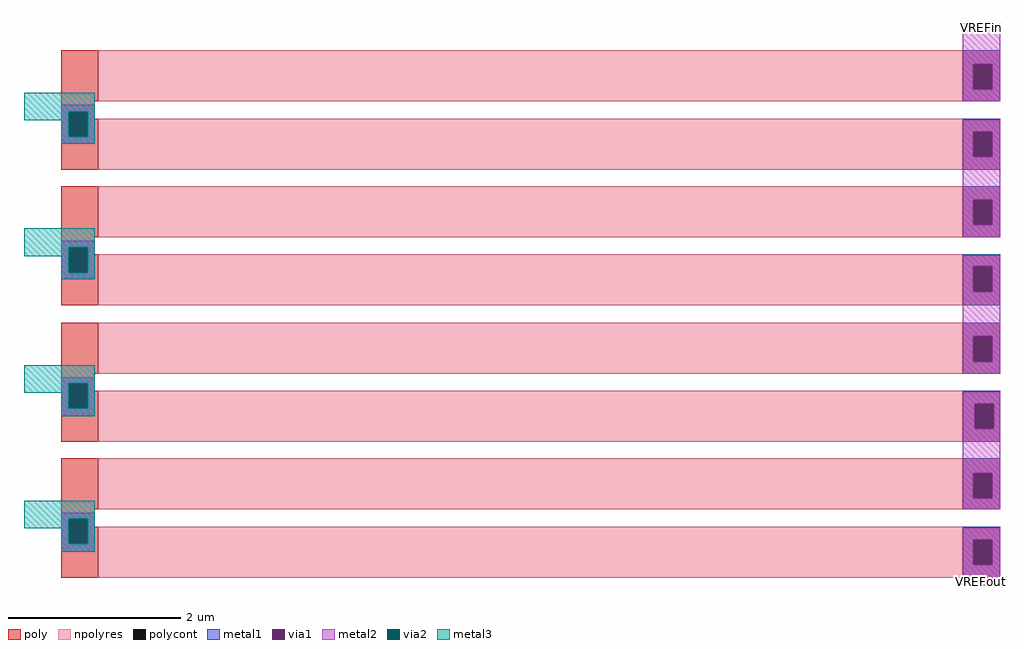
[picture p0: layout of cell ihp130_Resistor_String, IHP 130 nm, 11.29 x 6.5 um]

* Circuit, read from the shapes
.subckt ihp130_Resistor_String VREFout VREFin
XR1 VREFout n1 npolyres w=0.59u l=10u
XR2 n2 n1 npolyres w=0.59u l=10u
XR3 n2 n3 npolyres w=0.59u l=10u
XR4 n4 n3 npolyres w=0.59u l=10u
XR5 n4 n5 npolyres w=0.59u l=10u
XR6 n6 n5 npolyres w=0.59u l=10u
XR7 n6 n7 npolyres w=0.59u l=10u
XR8 VREFin n7 npolyres w=0.59u l=10u
.ends

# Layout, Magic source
magic
tech ihp-sg13g2
<< poly >>
rect 981 562 1024 621
rect 2024 605 2067 621
rect 2024 576 2036 605
rect 2058 576 2067 605
rect 2024 562 2067 576
rect 981 550 1020 562
rect 981 521 990 550
rect 1012 542 1020 550
rect 1012 521 1024 542
rect 981 483 1024 521
rect 2024 527 2067 542
rect 2024 498 2036 527
rect 2058 498 2067 527
rect 2024 483 2067 498
rect 981 405 1024 464
rect 2024 448 2067 464
rect 2024 419 2036 448
rect 2058 419 2067 448
rect 2024 405 2067 419
rect 981 393 1020 405
rect 981 364 990 393
rect 1012 385 1020 393
rect 1012 364 1024 385
rect 981 326 1024 364
rect 2024 371 2067 385
rect 2024 342 2036 371
rect 2058 342 2067 371
rect 2024 326 2067 342
rect 981 247 1024 306
rect 2024 290 2067 306
rect 2024 261 2036 290
rect 2058 261 2067 290
rect 2024 247 2067 261
rect 981 236 1020 247
rect 981 207 990 236
rect 1012 227 1020 236
rect 1012 207 1024 227
rect 981 168 1024 207
rect 2024 212 2067 227
rect 2024 183 2038 212
rect 2060 183 2067 212
rect 2024 168 2067 183
rect 981 90 1024 149
rect 2024 132 2067 149
rect 2024 103 2036 132
rect 2058 103 2067 132
rect 2024 90 2067 103
rect 981 79 1020 90
rect 981 50 990 79
rect 1012 70 1020 79
rect 1012 50 1024 70
rect 981 11 1024 50
rect 2024 55 2067 70
rect 2024 26 2036 55
rect 2058 26 2067 55
rect 2024 11 2067 26
<< polycont >>
rect 2036 576 2058 605
rect 990 521 1012 550
rect 2036 498 2058 527
rect 2036 419 2058 448
rect 990 364 1012 393
rect 2036 342 2058 371
rect 2036 261 2058 290
rect 990 207 1012 236
rect 2038 183 2060 212
rect 2036 103 2058 132
rect 990 50 1012 79
rect 2036 26 2058 55
<< npolyres >>
rect 1024 562 2024 621
rect 1024 483 2024 542
rect 1024 405 2024 464
rect 1024 326 2024 385
rect 1024 247 2024 306
rect 1024 168 2024 227
rect 1024 90 2024 149
rect 1024 11 2024 70
<< metal1 >>
rect 2024 605 2067 621
rect 2024 576 2036 605
rect 2058 576 2067 605
rect 2024 562 2067 576
rect 981 550 1020 558
rect 981 521 990 550
rect 1012 521 1020 550
rect 981 513 1020 521
rect 2024 527 2067 542
rect 2024 498 2036 527
rect 2058 498 2067 527
rect 2024 483 2067 498
rect 2024 448 2067 464
rect 2024 419 2036 448
rect 2058 419 2067 448
rect 2024 405 2067 419
rect 981 393 1020 401
rect 981 364 990 393
rect 1012 364 1020 393
rect 981 356 1020 364
rect 2024 371 2067 385
rect 2024 342 2036 371
rect 2058 342 2067 371
rect 2024 326 2067 342
rect 2024 290 2067 306
rect 2024 261 2036 290
rect 2058 261 2067 290
rect 2024 247 2067 261
rect 981 236 1020 243
rect 981 207 990 236
rect 1012 207 1020 236
rect 981 198 1020 207
rect 2024 212 2067 227
rect 2024 183 2038 212
rect 2060 183 2067 212
rect 2024 168 2067 183
rect 2024 132 2067 149
rect 2024 103 2036 132
rect 2058 103 2067 132
rect 2024 90 2067 103
rect 981 79 1020 86
rect 981 50 990 79
rect 1012 50 1020 79
rect 981 41 1020 50
rect 2024 55 2067 70
rect 2024 26 2036 55
rect 2058 26 2067 55
rect 2024 11 2067 26
<< via1 >>
rect 2036 576 2058 605
rect 990 521 1012 550
rect 2036 498 2058 527
rect 2036 419 2058 448
rect 990 364 1012 393
rect 2036 342 2058 371
rect 2036 261 2058 290
rect 990 207 1012 236
rect 2038 183 2060 212
rect 2036 103 2058 132
rect 990 50 1012 79
rect 2036 26 2058 55
<< metal2 >>
rect 2024 605 2067 652
rect 2024 576 2036 605
rect 2058 576 2067 605
rect 2024 562 2067 576
rect 981 550 1020 558
rect 981 521 990 550
rect 1012 521 1020 550
rect 981 513 1020 521
rect 2024 527 2067 541
rect 2024 498 2036 527
rect 2058 498 2067 527
rect 2024 448 2067 498
rect 2024 419 2036 448
rect 2058 419 2067 448
rect 2024 405 2067 419
rect 981 393 1020 401
rect 981 364 990 393
rect 1012 364 1020 393
rect 981 356 1020 364
rect 2024 371 2067 384
rect 2024 342 2036 371
rect 2058 342 2067 371
rect 2024 290 2067 342
rect 2024 261 2036 290
rect 2058 261 2067 290
rect 2024 247 2067 261
rect 981 236 1020 243
rect 981 207 990 236
rect 1012 207 1020 236
rect 981 198 1020 207
rect 2024 212 2067 226
rect 2024 183 2038 212
rect 2060 183 2067 212
rect 2024 132 2067 183
rect 2024 103 2036 132
rect 2058 103 2067 132
rect 2024 90 2067 103
rect 981 79 1020 86
rect 981 50 990 79
rect 1012 50 1020 79
rect 981 41 1020 50
rect 2024 55 2067 69
rect 2024 26 2036 55
rect 2058 26 2067 55
rect 2024 2 2067 26
<< via2 >>
rect 990 521 1012 550
rect 990 364 1012 393
rect 990 207 1012 236
rect 990 50 1012 79
<< metal3 >>
rect 938 550 1020 572
rect 938 540 990 550
rect 981 521 990 540
rect 1012 521 1020 550
rect 981 513 1020 521
rect 938 393 1020 415
rect 938 383 990 393
rect 981 364 990 383
rect 1012 364 1020 393
rect 981 356 1020 364
rect 938 236 1020 257
rect 938 225 990 236
rect 981 207 990 225
rect 1012 207 1020 236
rect 981 198 1020 207
rect 938 79 1020 100
rect 938 68 990 79
rect 981 50 990 68
rect 1012 50 1020 79
rect 981 41 1020 50
<< labels >>
flabel metal2 2024 2 2067 11 1 FreeSans 40 0 0 0 VREFout
port 1 n
flabel metal2 2024 643 2067 652 1 FreeSans 40 0 0 0 VREFin
port 2 n
<< end >>
